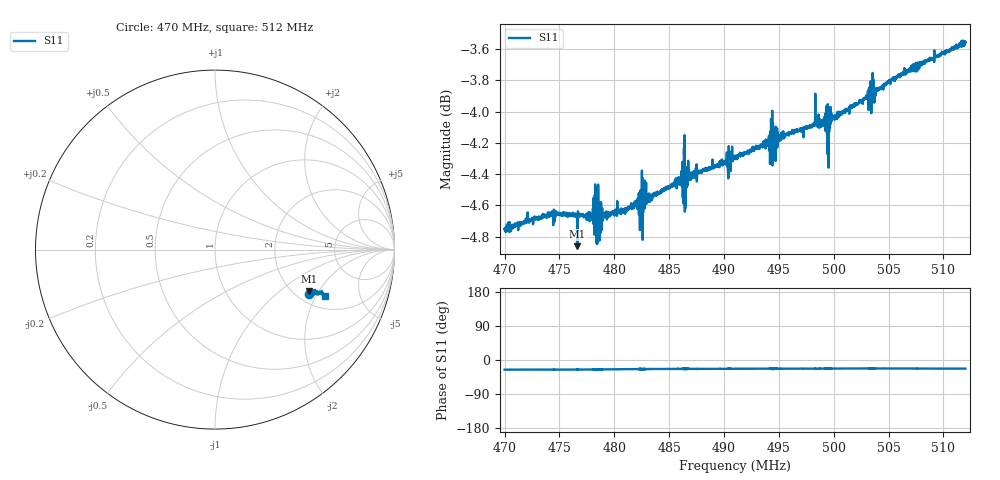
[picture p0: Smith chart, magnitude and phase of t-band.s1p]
! Calibrated averaged scanner-service zoom
# Hz S RI R 50
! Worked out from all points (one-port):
!   4001 points, 470 MHz to 512 MHz, reference 50 ohm
!   lowest |S11| = -4.9 dB at 476.6 MHz (marker M1), VSWR 3.67, Z = 120 - j82.2 ohm
!   |S11| at or under -10 dB: nowhere
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4.7e8  0.5219 -0.2498
4.726145e8  0.5265 -0.2492
4.7525e8  0.5284 -0.2512
4.76636e8  0.5225 -0.2314
4.780535e8  0.5334 -0.2464
4.783265e8  0.5272 -0.2441
4.78484e8  0.5224 -0.2353
4.805e8  0.534 -0.2405
4.822955e8  0.5434 -0.2343
4.82726e8  0.5409 -0.2423
4.833245e8  0.5425 -0.2399
4.8575e8  0.5504 -0.2361
4.862015e8  0.5508 -0.2356
4.863275e8  0.5509 -0.2376
4.86632e8  0.5538 -0.2401
4.86758e8  0.5554 -0.2362
4.872935e8  0.5538 -0.2395
4.91e8  0.561 -0.2394
4.94045e8  0.5677 -0.2399
4.942865e8  0.5753 -0.251
4.94717e8  0.5731 -0.2469
4.9625e8  0.5723 -0.2424
4.98455e8  0.5769 -0.2434
4.994945e8  0.5786 -0.2352
5.015e8  0.585 -0.241
5.03705e8  0.5934 -0.2427
5.0675e8  0.601 -0.2485
5.12e8  0.6121 -0.2571
